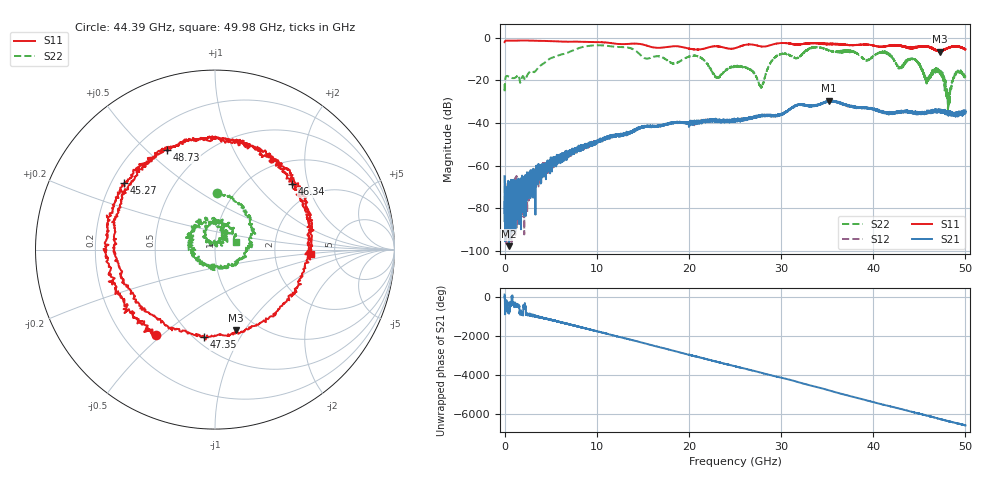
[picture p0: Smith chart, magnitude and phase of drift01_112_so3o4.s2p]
!Created with skrf (http://scikit-rf.org).
# Hz S RI R 50.0
!freq ReS11 ImS11 ReS21 ImS21 ReS12 ImS12 ReS22 ImS22
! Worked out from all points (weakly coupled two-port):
!   10001 points, 300 kHz to 50 GHz, reference 50 ohm
!   highest |S21| = -29.53 dB at 35.23 GHz (marker M1); lowest = -97.8 dB at 475.3 MHz (marker M2)
!   lowest |S11| = -6.6 dB at 47.2 GHz (marker M3), VSWR 2.74, Z = 40 - j45.9 ohm
!   |S11| at or under -10 dB: nowhere
!   |S22| runs from -34.1 to -3.6 dB; largest |S21 - S12| = 0.0038
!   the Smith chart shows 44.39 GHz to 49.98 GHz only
!   S11 on the Smith chart (normalised r, x): 44.39 GHz: 0.34, -0.48; 45.27 GHz: 0.25, +0.31; 46.34 GHz: 1.49, +1.58; 47.35 GHz: 0.56, -0.71; 48.73 GHz: 0.32, +0.58; 49.98 GHz: 3.29, -0.22
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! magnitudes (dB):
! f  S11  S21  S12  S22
! 300 kHz  -2.1  -65.1  -64.6  -21.8
! 475.3 MHz  -1.5  -97.8  -71.7  -18.3
! 8.335 GHz  -1.9  -50.4  -51.0  -4.5
! 16.67 GHz  -4.8  -41.4  -41.5  -8.7
! 20.97 GHz  -5.6  -40.2  -39.6  -8.7
! 23.09 GHz  -4.1  -39.2  -39.2  -18.7
! 25 GHz  -5.0  -39.3  -38.9  -13.6
! 27.85 GHz  -4.2  -36.6  -36.7  -23.0
! 29.47 GHz  -2.9  -36.8  -36.7  -8.8
! 33.34 GHz  -2.6  -32.1  -31.9  -4.7
! 35.23 GHz  -3.0  -29.5  -30.0  -6.0
! 41.67 GHz  -3.8  -35.6  -35.2  -7.7
! 42.85 GHz  -3.8  -34.7  -35.0  -14.3
! 44.39 GHz  -4.8  -35.6  -35.3  -10.1
! 45.27 GHz  -4.1  -35.6  -35.1  -14.6
! 46.34 GHz  -5.0  -34.1  -34.8  -17.0
! 47.2 GHz  -6.6  -34.2  -34.6  -15.6
! 47.35 GHz  -6.2  -35.0  -34.3  -16.1
! 48.13 GHz  -4.8  -35.7  -35.3  -31.1
! 48.73 GHz  -4.2  -36.3  -36.0  -18.5
! 49.98 GHz  -5.4  -35.1  -34.4  -18.2
! 50 GHz  -5.5  -34.2  -34.5  -18.5
